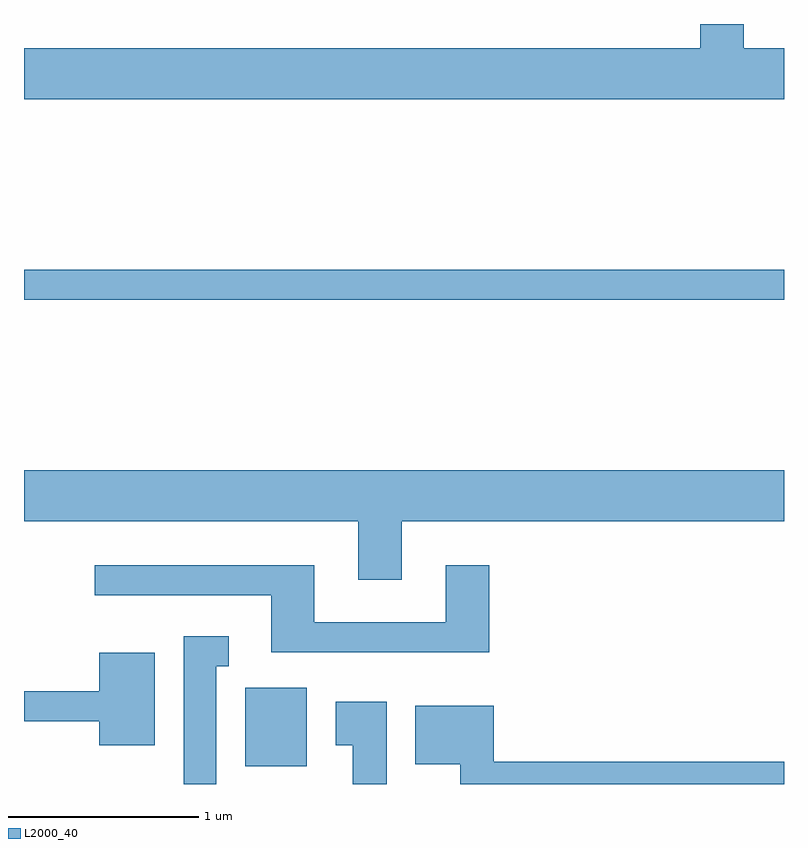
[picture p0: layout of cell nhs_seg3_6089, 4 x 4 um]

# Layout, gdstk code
import gdstk
lib = gdstk.Library(unit=1e-6, precision=1e-09)
def R(c, l, rs):  # rectangles x0, y0, x1, y1
    for r in rs: c.add(gdstk.rectangle(r[:2], r[2:], *l))
def P(c, l, *ps):  # polygons
    for p in ps: c.add(gdstk.Polygon(p, *l))
L2000_40 = (2000, 40)

nhs_seg3_6089 = lib.new_cell('nhs_seg3_6089')
R(nhs_seg3_6089, L2000_40, [(364.776,1197.986,365.099,1198.399), (363.611,1200.441,367.611,1200.599)])
P(nhs_seg3_6089, L2000_40, [(367.611,1201.764),(367.399,1201.764),(367.399,1201.892),(367.171,1201.892),(367.171,1201.764),(363.611,1201.764),(363.611,1201.496),(367.611,1201.496)],
  [(365.599,1199.276),(367.611,1199.276),(367.611,1199.544),(363.611,1199.544),(363.611,1199.276),(365.371,1199.276),(365.371,1198.966),(365.599,1198.966)],
  [(366.059,1199.044),(365.831,1199.044),(365.831,1198.744),(365.139,1198.744),(365.139,1199.044),(363.983,1199.044),(363.983,1198.886),(364.911,1198.886),(364.911,1198.586),(366.059,1198.586)],
  [(364.624,1198.511),(364.688,1198.511),(364.688,1198.669),(364.451,1198.669),(364.451,1197.892),(364.624,1197.892)],
  [(364.299,1198.584),(364.006,1198.584),(364.006,1198.379),(363.611,1198.379),(363.611,1198.221),(364.006,1198.221),(364.006,1198.096),(364.299,1198.096)],
  [(365.519,1198.324),(365.251,1198.324),(365.251,1198.096),(365.341,1198.096),(365.341,1197.892),(365.519,1197.892)],
  [(367.611,1198.009),(366.084,1198.009),(366.084,1198.304),(365.671,1198.304),(365.671,1197.996),(365.906,1197.996),(365.906,1197.892),(367.611,1197.892)])

lib.write_gds('nhs_seg3_6089.gds')
